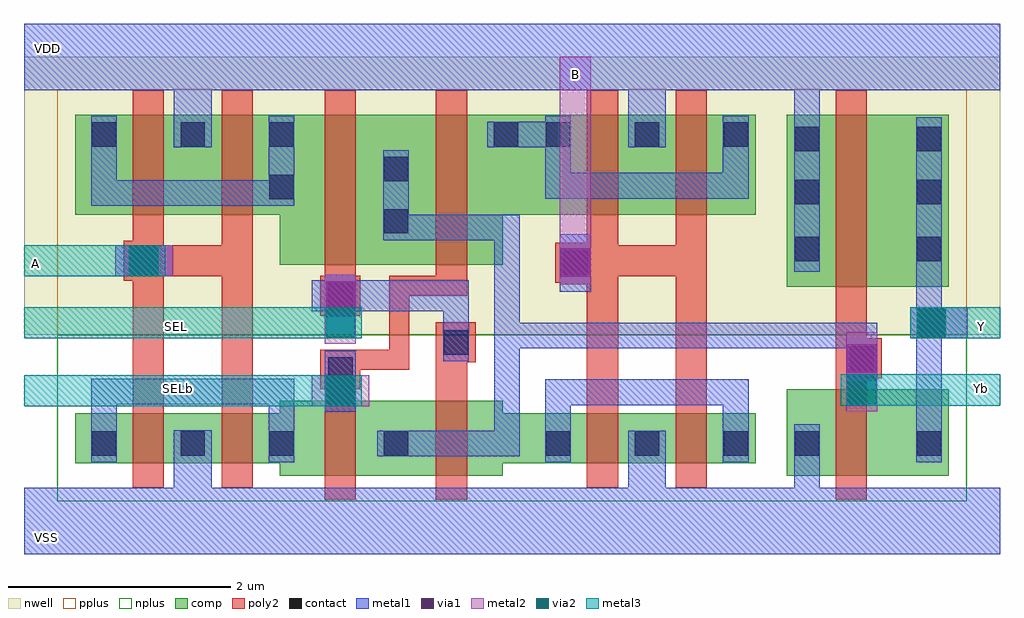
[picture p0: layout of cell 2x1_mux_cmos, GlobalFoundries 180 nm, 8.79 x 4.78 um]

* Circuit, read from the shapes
.subckt 2x1_mux_cmos A B SEL SELb VDD VSS Y Yb
XM1 VSS A n1 VSUBS nfet_03v3 w=0.45u l=0.28u m=2
XM2 Yb SELb n1 VSUBS nfet_03v3 w=0.675u l=0.28u
XM3 n2 SEL Yb VSUBS nfet_03v3 w=0.675u l=0.28u
XM4 VSS B n2 VSUBS nfet_03v3 w=0.45u l=0.28u m=2
XM5 Y Yb VSS VSUBS nfet_03v3 w=0.775u l=0.28u
XM6 VDD A n3 n4 pfet_03v3 w=0.9u l=0.28u m=2
XM7 Yb SEL n3 n4 pfet_03v3 w=1.35u l=0.28u
XM8 n5 SELb Yb n4 pfet_03v3 w=1.35u l=0.28u
XM9 VDD B n5 n4 pfet_03v3 w=0.9u l=0.28u m=2
XM10 Y Yb VDD n4 pfet_03v3 w=1.55u l=0.28u
.ends

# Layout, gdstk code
import gdstk
lib = gdstk.Library(unit=1e-6, precision=5e-09)
def R(c, l, rs):  # rectangles x0, y0, x1, y1
    for r in rs: c.add(gdstk.rectangle(r[:2], r[2:], *l))
def A(c, l, x, y, w, h, nx, ny, dx, dy):  # array of equal rectangles
    R(c, l, [(x+i*dx, y+j*dy, x+i*dx+w, y+j*dy+h) for i in range(nx) for j in range(ny)])
nwell = (21, 0)
comp = (22, 0)
poly2 = (30, 0)
pplus = (31, 0)
nplus = (32, 0)
contact = (33, 0)
metal1 = (34, 0)
via1 = (35, 0)
metal2 = (36, 0)
via2 = (38, 0)
metal3 = (42, 0)

c_2x1_mux_cmos = lib.new_cell('2x1_mux_cmos')
R(c_2x1_mux_cmos, nwell, [(-5.465,-1.9,3.325,0.6)])
R(c_2x1_mux_cmos, comp, [(-3.16,-3.17,-1.155,-2.495), (1.405,-3.17,2.865,-2.395), (-5.005,-3.06,1.125,-2.61), (1.405,-1.47,2.865,0.08), (-3.16,-1.27,-1.155,0.08), (-5.005,-0.82,1.125,0.08)])
R(c_2x1_mux_cmos, poly2, [(-2.755,-3.39,-2.475,-2.395), (-1.755,-3.39,-1.475,-2.15), (1.845,-3.39,2.125,0.3), (-4.485,-3.28,-4.205,0.3), (-3.685,-3.28,-3.405,0.3), (-0.395,-3.28,-0.115,0.3), (0.405,-3.28,0.685,0.3), (-2.795,-2.395,-2.435,-2.035), (1.9,-2.295,2.26,-1.935), (-2.435,-2.215,-2.175,-2.035), (-2.175,-2.215,-1.995,-1.37), (-1.755,-2.15,-1.395,-1.79), (-2.795,-1.73,-2.435,-1.37), (-1.995,-1.55,-1.755,-1.37), (-1.755,-1.55,-1.475,0.3), (-0.68,-1.435,-0.32,-1.075), (-4.565,-1.415,-4.205,-1.055), (-4.205,-1.375,-3.685,-1.095), (-0.115,-1.375,0.405,-1.095), (-2.755,-1.37,-2.475,0.3)])
R(c_2x1_mux_cmos, pplus, [(-5.165,-1.9,3.025,0.31)])
R(c_2x1_mux_cmos, nplus, [(-5.165,-3.4,3.025,-1.9)])
A(c_2x1_mux_cmos, contact, -4.855, -2.99, 0.22, 0.22, 3, 2, 0.8, 2.78)
A(c_2x1_mux_cmos, contact, -0.765, -2.99, 0.22, 0.22, 3, 2, 0.8, 2.78)
R(c_2x1_mux_cmos, contact, [(-2.225,-2.99,-2.005,-2.77), (1.475,-2.99,1.695,-2.77), (2.575,-2.99,2.795,-2.77), (-2.725,-2.325,-2.505,-2.105), (1.97,-2.225,2.19,-2.005), (-1.685,-2.08,-1.465,-1.86), (-2.725,-1.66,-2.505,-1.44), (-0.61,-1.365,-0.39,-1.145), (-4.495,-1.345,-4.275,-1.125), (1.475,-1.24,1.695,-1.02), (2.575,-1.24,2.795,-1.02), (-2.225,-0.99,-2.005,-0.77), (1.475,-0.725,1.695,-0.505), (2.575,-0.725,2.795,-0.505), (-3.255,-0.68,-3.035,-0.46), (-2.225,-0.52,-2.005,-0.3), (1.475,-0.25,1.695,-0.03), (2.575,-0.25,2.795,-0.03), (-1.235,-0.21,-1.015,0.01)])
R(c_2x1_mux_cmos, metal1, [(-5.465,-3.88,3.325,-3.28), (-4.115,-3.28,-3.775,-2.76), (-0.025,-3.28,0.315,-2.765), (1.47,-3.28,1.7,-2.71), (-4.86,-3.05,-4.63,-2.53), (-3.26,-3.05,-3.03,-2.53), (-0.77,-3.05,-0.54,-2.535), (0.83,-3.05,1.06,-2.535), (2.57,-3.05,2.8,0.055), (-2.285,-2.995,-1,-2.765), (-1.23,-2.765,-1,-0.82), (-2.755,-2.595,-2.475,-2.045), (-0.77,-2.535,1.06,-2.305), (-4.86,-2.53,-3.03,-2.3), (1.94,-2.315,2.22,-1.795), (1.965,-2.255,2.195,-2.025), (-1.69,-2.14,-1.46,-1.69), (-1,-2.025,1.94,-1.795), (2.515,-1.935,3.035,-1.655), (-2.755,-1.74,-2.475,-1.36), (-2.875,-1.69,-1.46,-1.41), (-0.64,-1.515,-0.36,-0.995), (-4.645,-1.375,-4.125,-1.095), (1.47,-1.335,1.7,0.3), (-2.23,-1.05,-2,-0.24), (-2,-1.05,-1,-0.82), (-4.86,-0.74,-3.03,-0.51), (-0.77,-0.675,1.06,-0.445), (-4.86,-0.51,-4.63,0.07), (-3.26,-0.51,-3.03,0.07), (-0.77,-0.445,-0.54,0.07), (0.83,-0.445,1.06,0.07), (-4.115,-0.215,-3.775,0.3), (-1.295,-0.215,-0.77,0.015), (-0.025,-0.215,0.315,0.3), (-5.465,0.3,3.325,0.9)])
R(c_2x1_mux_cmos, via1, [(-2.745,-2.535,-2.485,-2.275), (1.95,-2.245,2.21,-1.985), (2.575,-1.925,2.835,-1.665), (-2.745,-1.68,-2.485,-1.42), (-0.63,-1.385,-0.37,-1.125), (-4.515,-1.365,-4.255,-1.105)])
R(c_2x1_mux_cmos, metal2, [(1.94,-2.59,2.22,-1.88), (-2.875,-2.545,-2.355,-2.265), (-2.755,-1.985,-2.475,-1.36), (2.515,-1.935,3.035,-1.655), (-0.64,-1.445,-0.36,0.6), (-4.645,-1.375,-4.125,-1.095)])
R(c_2x1_mux_cmos, via2, [(-2.745,-2.535,-2.485,-2.275), (1.95,-2.53,2.21,-2.27), (-2.745,-1.925,-2.485,-1.665), (2.575,-1.925,2.835,-1.665), (-4.515,-1.365,-4.255,-1.105)])
R(c_2x1_mux_cmos, metal3, [(-5.465,-2.545,-2.425,-2.265), (1.89,-2.54,3.325,-2.26), (-5.465,-1.935,-2.425,-1.655), (2.515,-1.935,3.325,-1.655), (-5.465,-1.375,-4.195,-1.095)])
c_2x1_mux_cmos.add(gdstk.Label('Yb', (3.155,-2.39), layer=42, texttype=10))
c_2x1_mux_cmos.add(gdstk.Label('Y', (3.155,-1.825), layer=42, texttype=10))
c_2x1_mux_cmos.add(gdstk.Label('A', (-5.365,-1.26), layer=42, texttype=10))
c_2x1_mux_cmos.add(gdstk.Label('SEL', (-4.09,-1.825), layer=42, texttype=10))
c_2x1_mux_cmos.add(gdstk.Label('SELb', (-4.075,-2.39), layer=42, texttype=10))
c_2x1_mux_cmos.add(gdstk.Label('B', (-0.5,0.44), layer=36, texttype=10))
c_2x1_mux_cmos.add(gdstk.Label('VDD', (-5.25,0.675), layer=34, texttype=10))
c_2x1_mux_cmos.add(gdstk.Label('VSS', (-5.26,-3.725), layer=34, texttype=10))

lib.write_gds('2x1_mux_cmos.gds')
